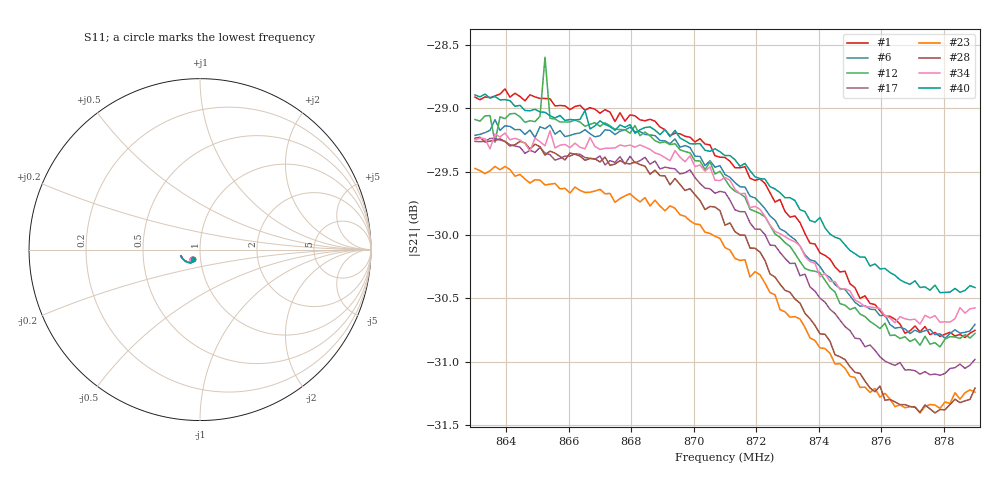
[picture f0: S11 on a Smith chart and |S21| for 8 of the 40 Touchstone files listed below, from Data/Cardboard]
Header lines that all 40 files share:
# HZ S RI R 50
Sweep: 863 MHz to 879 MHz
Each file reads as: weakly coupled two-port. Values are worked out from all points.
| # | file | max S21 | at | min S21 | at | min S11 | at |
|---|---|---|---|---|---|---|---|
| 1 | co21s4.s2p | -28.85 dB | 863.96 MHz | -30.8 dB | 878.68 MHz | -23.5 dB | 864.44 MHz |
| 2 | co21s6.s2p | -28.92 dB | 863.96 MHz | -30.8 dB | 878.04 MHz | -23.6 dB | 864.44 MHz |
| 3 | co21s7.s2p | -28.95 dB | 864.76 MHz | -30.6 dB | 877.88 MHz | -23.7 dB | 865.08 MHz |
| 4 | co21s9.s2p | -28.89 dB | 863.96 MHz | -30.7 dB | 876.92 MHz | -23.7 dB | 864.44 MHz |
| 5 | co22s1.s2p | -29.06 dB | 863.16 MHz | -30.7 dB | 876.92 MHz | -23.5 dB | 865.24 MHz |
| 6 | co22s2.s2p | -29.09 dB | 863.64 MHz | -30.8 dB | 878.04 MHz | -23.5 dB | 866.04 MHz |
| 7 | co22s4.s2p | -29.14 dB | 863.64 MHz | -31.0 dB | 877.88 MHz | -23.7 dB | 865.4 MHz |
| 8 | co22s7.s2p | -29.31 dB | 863.96 MHz | -31.2 dB | 877.24 MHz | -23.5 dB | 864.44 MHz |
| 9 | co23s0.s2p | -29.23 dB | 863.16 MHz | -31.2 dB | 878.2 MHz | -23.6 dB | 864.44 MHz |
| 10 | co23s2.s2p | -29.26 dB | 863.96 MHz | -31.2 dB | 877.88 MHz | -23.6 dB | 864.44 MHz |
| 11 | co23s4.s2p | -28.99 dB | 863.8 MHz | -31.2 dB | 876.76 MHz | -24.2 dB | 865.88 MHz |
| 12 | co23s5.s2p | -28.60 dB | 865.24 MHz | -30.9 dB | 877.88 MHz | -23.8 dB | 865.24 MHz |
| 13 | co23s6.s2p | -28.89 dB | 864.12 MHz | -31.1 dB | 877.88 MHz | -23.6 dB | 863.96 MHz |
| 14 | co23s7.s2p | -28.81 dB | 865.4 MHz | -31.1 dB | 877.24 MHz | -23.9 dB | 865.4 MHz |
| 15 | co23s8.s2p | -29.02 dB | 863.96 MHz | -31.1 dB | 876.92 MHz | -23.6 dB | 863.96 MHz |
| 16 | co24s0.s2p | -29.06 dB | 863.64 MHz | -31.0 dB | 876.92 MHz | -23.5 dB | 864.44 MHz |
| 17 | co24s1.s2p | -29.24 dB | 863.64 MHz | -31.1 dB | 877.88 MHz | -23.6 dB | 865.4 MHz |
| 18 | co24s2.s2p | -29.40 dB | 863.8 MHz | -31.1 dB | 876.92 MHz | -23.6 dB | 864.44 MHz |
| 19 | co24s3.s2p | -29.17 dB | 863.96 MHz | -30.9 dB | 876.76 MHz | -23.7 dB | 864.44 MHz |
| 20 | co24s4.s2p | -29.10 dB | 863.16 MHz | -31.1 dB | 876.76 MHz | -23.7 dB | 864.44 MHz |
| 21 | co24s5.s2p | -29.46 dB | 864.44 MHz | -31.1 dB | 877.24 MHz | -23.8 dB | 864.44 MHz |
| 22 | co24s7.s2p | -29.40 dB | 863 MHz | -31.4 dB | 877.56 MHz | -23.7 dB | 864.92 MHz |
| 23 | co24s8.s2p | -29.46 dB | 863.64 MHz | -31.4 dB | 877.24 MHz | -23.5 dB | 865.56 MHz |
| 24 | co24s10.s2p | -29.30 dB | 863.48 MHz | -31.4 dB | 877.72 MHz | -23.6 dB | 865.24 MHz |
| 25 | co24s12.s2p | -29.31 dB | 864.28 MHz | -31.4 dB | 877.24 MHz | -23.6 dB | 864.44 MHz |
| 26 | co24s14.s2p | -28.98 dB | 863 MHz | -31.4 dB | 878.04 MHz | -23.8 dB | 864.6 MHz |
| 27 | co25s0.s2p | -28.90 dB | 863.96 MHz | -31.4 dB | 878.36 MHz | -23.4 dB | 866.04 MHz |
| 28 | co25s3.s2p | -29.23 dB | 863.16 MHz | -31.4 dB | 877.72 MHz | -23.6 dB | 865.24 MHz |
| 29 | co25s5.s2p | -29.15 dB | 863.32 MHz | -31.1 dB | 877.88 MHz | -23.7 dB | 865.56 MHz |
| 30 | co25s6.s2p | -29.36 dB | 864.12 MHz | -30.8 dB | 864.28 MHz | -23.7 dB | 865.24 MHz |
| 31 | co25s7.s2p | -29.14 dB | 863.96 MHz | -30.7 dB | 877.08 MHz | -23.8 dB | 863.96 MHz |
| 32 | co25s8.s2p | -29.10 dB | 863.64 MHz | -30.7 dB | 877.88 MHz | -23.5 dB | 865.08 MHz |
| 33 | co25s9.s2p | -28.26 dB | 866.84 MHz | -30.8 dB | 876.76 MHz | -23.7 dB | 865.08 MHz |
| 34 | co25s10.s2p | -29.18 dB | 865.4 MHz | -30.7 dB | 877.24 MHz | -23.7 dB | 865.4 MHz |
| 35 | co25s11.s2p | -29.07 dB | 867.16 MHz | -30.4 dB | 877.72 MHz | -23.7 dB | 865.4 MHz |
| 36 | co25s12.s2p | -29.42 dB | 864.44 MHz | -30.9 dB | 876.92 MHz | -24.1 dB | 864.44 MHz |
| 37 | co25s14.s2p | -29.24 dB | 863.48 MHz | -30.7 dB | 878.04 MHz | -23.8 dB | 864.44 MHz |
| 38 | co26s0.s2p | -28.96 dB | 864.6 MHz | -30.6 dB | 877.88 MHz | -24.1 dB | 864.6 MHz |
| 39 | co26s2.s2p | -29.14 dB | 866.84 MHz | -30.6 dB | 877.88 MHz | -23.6 dB | 864.44 MHz |
| 40 | co26s5.s2p | -28.89 dB | 863.32 MHz | -30.5 dB | 877.88 MHz | -23.5 dB | 866.52 MHz |
